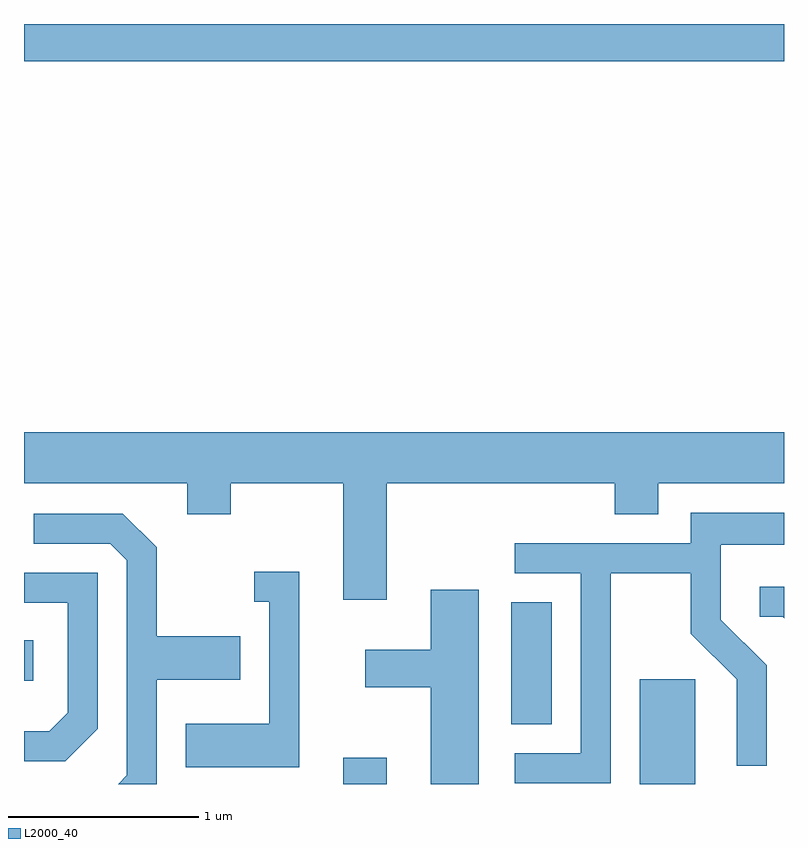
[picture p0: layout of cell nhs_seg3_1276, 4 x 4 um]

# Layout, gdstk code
import gdstk
lib = gdstk.Library(unit=1e-6, precision=1e-09)
def R(c, l, rs):  # rectangles x0, y0, x1, y1
    for r in rs: c.add(gdstk.rectangle(r[:2], r[2:], *l))
def P(c, l, *ps):  # polygons
    for p in ps: c.add(gdstk.Polygon(p, *l))
L2000_40 = (2000, 40)

nhs_seg3_1276 = lib.new_cell('nhs_seg3_1276')
R(nhs_seg3_1276, L2000_40, [(223.291,1219.892,223.519,1220.029), (224.851,1219.892,225.144,1220.444), (224.176,1220.206,224.389,1220.849), (221.611,1220.436,221.659,1220.649), (221.611,1223.696,225.611,1223.892)])
P(nhs_seg3_1276, L2000_40, [(223.519,1221.476),(224.721,1221.476),(224.721,1221.311),(224.949,1221.311),(224.949,1221.476),(225.611,1221.476),(225.611,1221.744),(221.611,1221.744),(221.611,1221.476),(222.471,1221.476),(222.471,1221.311),(222.699,1221.311),(222.699,1221.476),(223.291,1221.476),(223.291,1220.861),(223.519,1220.861)],
  [(224.699,1221.001),(225.121,1221.001),(225.121,1220.684),(225.361,1220.444),(225.361,1219.988),(225.519,1219.988),(225.519,1220.517),(225.279,1220.757),(225.279,1221.151),(225.611,1221.151),(225.611,1221.319),(225.121,1221.319),(225.121,1221.159),(224.193,1221.159),(224.193,1221.001),(224.541,1221.001),(224.541,1220.054),(224.193,1220.054),(224.193,1219.896),(224.699,1219.896)],
  [(222.309,1220.441),(222.749,1220.441),(222.749,1220.669),(222.309,1220.669),(222.309,1221.137),(222.132,1221.314),(221.663,1221.314),(221.663,1221.156),(222.064,1221.156),(222.151,1221.069),(222.151,1219.937),(222.106,1219.892),(222.309,1219.892)],
  [(223.059,1221.009),(222.823,1221.009),(222.823,1220.851),(222.901,1220.851),(222.901,1220.209),(222.461,1220.209),(222.461,1219.981),(223.059,1219.981)],
  [(221.999,1220.184),(221.999,1221.004),(221.611,1221.004),(221.611,1220.846),(221.841,1220.846),(221.841,1220.267),(221.744,1220.169),(221.611,1220.169),(221.611,1220.011),(221.827,1220.011)],
  [(225.611,1220.929),(225.483,1220.929),(225.483,1220.771),(225.604,1220.771),(225.611,1220.764)],
  [(224.004,1220.914),(223.751,1220.914),(223.751,1220.599),(223.406,1220.599),(223.406,1220.401),(223.751,1220.401),(223.751,1219.892),(224.004,1219.892)])

lib.write_gds('nhs_seg3_1276.gds')
